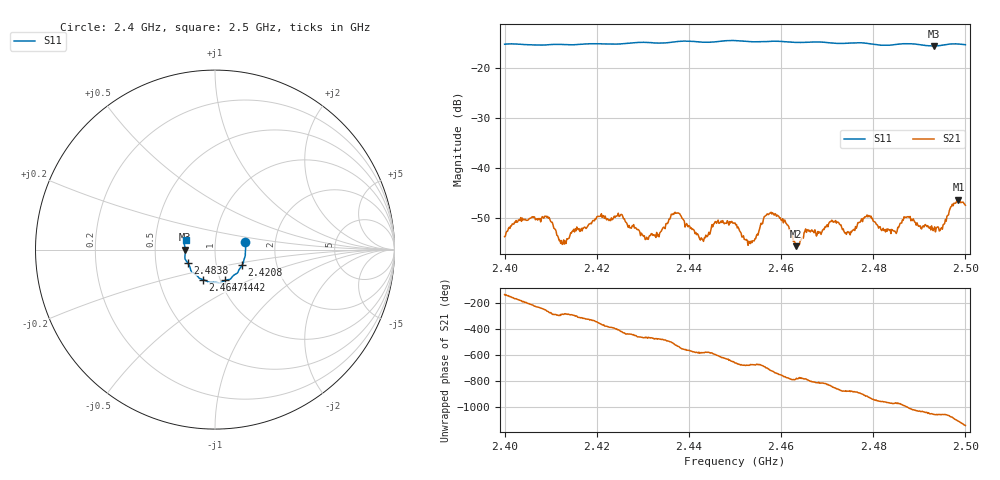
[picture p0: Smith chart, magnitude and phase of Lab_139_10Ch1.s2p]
# Hz S RI R 50
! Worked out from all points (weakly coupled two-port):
!   601 points, 2.4 GHz to 2.5 GHz, reference 50 ohm
!   highest |S21| = -46.34 dB at 2.4985 GHz (marker M1); lowest = -55.7 dB at 2.4632 GHz (marker M2)
!   lowest |S11| = -15.6 dB at 2.4932 GHz (marker M3), VSWR 1.40, Z = 35.8 - j0.0774 ohm
!   |S11| at or under -10 dB: start of sweep to end of sweep
!   S12 and S22 are empty: the file has one direction only
!   S11 on the Smith chart (normalised r, x): 2.4 GHz: 1.40, +0.12; 2.4208 GHz: 1.33, -0.24; 2.4442 GHz: 1.05, -0.37; 2.4647 GHz: 0.83, -0.29; 2.4838 GHz: 0.73, -0.11; 2.5 GHz: 0.72, +0.08
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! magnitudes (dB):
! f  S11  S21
! 2.4 GHz  -15.3  -53.8
! 2.406 GHz  -15.4  -49.8
! 2.4093 GHz  -15.4  -49.7
! 2.4125 GHz  -15.3  -55.3
! 2.4167 GHz  -15.2  -52.1
! 2.4208 GHz  -15.2  -49.7
! 2.4333 GHz  -15.0  -53.3
! 2.4375 GHz  -14.7  -49.0
! 2.4442 GHz  -14.9  -53.4
! 2.45 GHz  -14.5  -51.0
! 2.4533 GHz  -14.7  -55.2
! 2.4583 GHz  -14.6  -49.2
! 2.4632 GHz  -14.9  -55.7
! 2.4647 GHz  -14.9  -53.9
! 2.4667 GHz  -14.8  -52.4
! 2.479 GHz  -15.1  -49.5
! 2.4833 GHz  -15.5  -52.4
! 2.4838 GHz  -15.4  -53.1
! 2.4875 GHz  -15.1  -49.8
! 2.4932 GHz  -15.6  -52.2
! 2.4985 GHz  -15.2  -46.3
! 2.5 GHz  -15.3  -47.5
